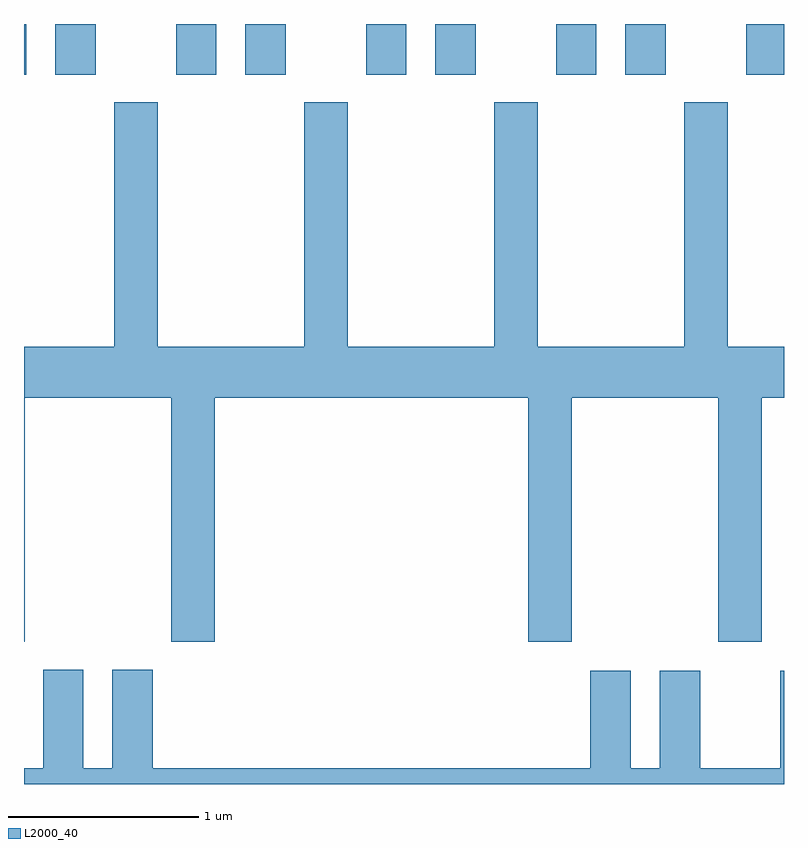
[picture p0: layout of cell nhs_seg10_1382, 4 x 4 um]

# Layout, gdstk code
import gdstk
lib = gdstk.Library(unit=1e-6, precision=1e-09)
def R(c, l, rs):  # rectangles x0, y0, x1, y1
    for r in rs: c.add(gdstk.rectangle(r[:2], r[2:], *l))
def P(c, l, *ps):  # polygons
    for p in ps: c.add(gdstk.Polygon(p, *l))
L2000_40 = (2000, 40)

nhs_seg10_1382 = lib.new_cell('nhs_seg10_1382')
R(nhs_seg10_1382, L2000_40, [(225.611,2142.256,225.624,2142.522), (225.776,2142.256,225.989,2142.522), (226.411,2142.256,226.624,2142.522), (226.776,2142.256,226.989,2142.522), (227.411,2142.256,227.624,2142.522), (227.776,2142.256,227.989,2142.522), (228.411,2142.256,228.624,2142.522), (228.776,2142.256,228.989,2142.522), (229.411,2142.256,229.611,2142.522)])
P(nhs_seg10_1382, L2000_40, [(225.614,2140.556),(226.386,2140.556),(226.386,2139.271),(226.614,2139.271),(226.614,2140.556),(228.266,2140.556),(228.266,2139.271),(228.494,2139.271),(228.494,2140.556),(229.266,2140.556),(229.266,2139.271),(229.494,2139.271),(229.494,2140.556),(229.611,2140.556),(229.611,2140.824),(229.314,2140.824),(229.314,2142.109),(229.086,2142.109),(229.086,2140.824),(228.314,2140.824),(228.314,2142.109),(228.086,2142.109),(228.086,2140.824),(227.314,2140.824),(227.314,2142.109),(227.086,2142.109),(227.086,2140.824),(226.314,2140.824),(226.314,2142.109),(226.086,2142.109),(226.086,2140.824),(225.611,2140.824),(225.611,2139.271),(225.614,2139.271)],
  [(229.611,2139.119),(229.591,2139.119),(229.591,2138.604),(229.169,2138.604),(229.169,2139.119),(228.956,2139.119),(228.956,2138.604),(228.804,2138.604),(228.804,2139.119),(228.591,2139.119),(228.591,2138.604),(226.289,2138.604),(226.289,2139.124),(226.076,2139.124),(226.076,2138.604),(225.924,2138.604),(225.924,2139.124),(225.711,2139.124),(225.711,2138.604),(225.611,2138.604),(225.611,2138.522),(229.611,2138.522)])

lib.write_gds('nhs_seg10_1382.gds')
